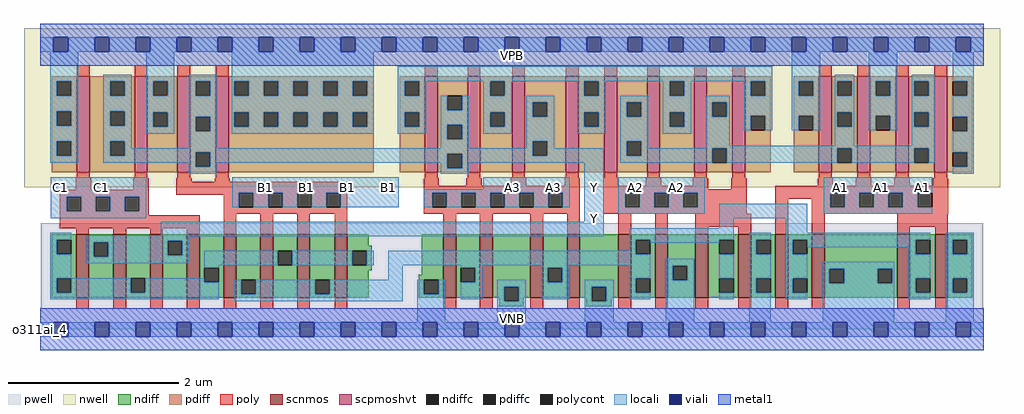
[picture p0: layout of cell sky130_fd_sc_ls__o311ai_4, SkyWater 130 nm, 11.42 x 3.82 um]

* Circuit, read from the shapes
.subckt sky130_fd_sc_ls__o311ai_4 A1 A2 A3 B1 C1 VGND VNB VPB VPWR Y
XM1 Y C1 n1 VNB sky130_fd_pr__nfet_01v8 w=0.74 l=0.15 m=4
XM2 n2 B1 n1 VNB sky130_fd_pr__nfet_01v8 w=0.74 l=0.15 m=4
XM3 n2 A3 VGND VNB sky130_fd_pr__nfet_01v8 w=0.74 l=0.15 m=4
XM4 n2 A2 VGND VNB sky130_fd_pr__nfet_01v8 w=0.74 l=0.15 m=4
XM5 n2 A1 VGND VNB sky130_fd_pr__nfet_01v8 w=0.74 l=0.15 m=4
XM6 Y C1 VPWR VPB sky130_fd_pr__pfet_01v8_hvt w=1.12 l=0.15 m=2
XM7 Y B1 VPWR VPB sky130_fd_pr__pfet_01v8_hvt w=1.12 l=0.15 m=2
XM8 Y A3 n3 VPB sky130_fd_pr__pfet_01v8_hvt w=1.12 l=0.15 m=4
XM9 n4 A2 n3 VPB sky130_fd_pr__pfet_01v8_hvt w=1.12 l=0.15 m=4
XM10 n4 A1 VPWR VPB sky130_fd_pr__pfet_01v8_hvt w=1.12 l=0.15 m=4
.ends

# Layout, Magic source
magic
tech sky130A
magscale 1 2
<< nwell >>
rect -38 332 2246 704
<< pwell >>
rect 1 49 2207 248
rect 0 0 2208 49
<< scnmos >>
rect 84 74 114 222
rect 171 74 201 222
rect 257 74 287 222
rect 343 74 373 222
rect 429 74 459 222
rect 515 74 545 222
rect 601 74 631 222
rect 689 74 719 222
rect 943 74 973 222
rect 1029 74 1059 222
rect 1147 74 1177 222
rect 1233 74 1263 222
rect 1353 74 1383 222
rect 1439 74 1469 222
rect 1533 74 1563 222
rect 1634 74 1664 222
rect 1720 74 1750 222
rect 1806 74 1836 222
rect 2005 74 2035 222
rect 2094 74 2124 222
<< scpmoshvt >>
rect 86 368 116 592
rect 221 368 251 592
rect 321 368 351 592
rect 411 368 441 592
rect 900 368 930 592
rect 1000 368 1030 592
rect 1104 368 1134 592
rect 1230 368 1260 592
rect 1320 368 1350 592
rect 1420 368 1450 592
rect 1530 368 1560 592
rect 1620 368 1650 592
rect 1822 368 1852 592
rect 1912 368 1942 592
rect 2002 368 2032 592
rect 2092 368 2122 592
<< ndiff >>
rect 27 210 84 222
rect 27 176 39 210
rect 73 176 84 210
rect 27 120 84 176
rect 27 86 39 120
rect 73 86 84 120
rect 27 74 84 86
rect 114 204 171 222
rect 114 170 125 204
rect 159 170 171 204
rect 114 74 171 170
rect 201 120 257 222
rect 201 86 212 120
rect 246 86 257 120
rect 201 74 257 86
rect 287 207 343 222
rect 287 173 298 207
rect 332 173 343 207
rect 287 74 343 173
rect 373 144 429 222
rect 373 110 384 144
rect 418 110 429 144
rect 373 74 429 110
rect 459 116 515 222
rect 459 82 470 116
rect 504 82 515 116
rect 459 74 515 82
rect 545 184 601 222
rect 545 150 556 184
rect 590 150 601 184
rect 545 74 601 150
rect 631 116 689 222
rect 631 82 643 116
rect 677 82 689 116
rect 631 74 689 82
rect 719 196 769 222
rect 719 184 776 196
rect 719 150 730 184
rect 764 150 776 184
rect 719 138 776 150
rect 719 74 769 138
rect 893 128 943 222
rect 886 116 943 128
rect 886 82 898 116
rect 932 82 943 116
rect 886 74 943 82
rect 973 144 1029 222
rect 973 110 984 144
rect 1018 110 1029 144
rect 973 74 1029 110
rect 1059 100 1147 222
rect 1059 74 1086 100
rect 1074 66 1086 74
rect 1120 74 1147 100
rect 1177 144 1233 222
rect 1177 110 1188 144
rect 1222 110 1233 144
rect 1177 74 1233 110
rect 1263 100 1353 222
rect 1263 74 1291 100
rect 1120 66 1132 74
rect 1074 54 1132 66
rect 1278 66 1291 74
rect 1325 74 1353 100
rect 1383 210 1439 222
rect 1383 176 1394 210
rect 1428 176 1439 210
rect 1383 120 1439 176
rect 1383 86 1394 120
rect 1428 86 1439 120
rect 1383 74 1439 86
rect 1469 149 1533 222
rect 1469 115 1480 149
rect 1514 115 1533 149
rect 1469 74 1533 115
rect 1563 210 1634 222
rect 1563 176 1589 210
rect 1623 176 1634 210
rect 1563 120 1634 176
rect 1563 86 1589 120
rect 1623 86 1634 120
rect 1563 74 1634 86
rect 1664 210 1720 222
rect 1664 176 1675 210
rect 1709 176 1720 210
rect 1664 120 1720 176
rect 1664 86 1675 120
rect 1709 86 1720 120
rect 1664 74 1720 86
rect 1750 210 1806 222
rect 1750 176 1761 210
rect 1795 176 1806 210
rect 1750 120 1806 176
rect 1750 86 1761 120
rect 1795 86 1806 120
rect 1750 74 1806 86
rect 1836 142 2005 222
rect 1836 108 1847 142
rect 1881 108 1960 142
rect 1994 108 2005 142
rect 1836 74 2005 108
rect 2035 210 2094 222
rect 2035 176 2049 210
rect 2083 176 2094 210
rect 2035 120 2094 176
rect 2035 86 2049 120
rect 2083 86 2094 120
rect 2035 74 2094 86
rect 2124 210 2181 222
rect 2124 176 2135 210
rect 2169 176 2181 210
rect 2124 120 2181 176
rect 2124 86 2135 120
rect 2169 86 2181 120
rect 2124 74 2181 86
rect 1325 66 1338 74
rect 1278 54 1338 66
<< pdiff >>
rect 27 580 86 592
rect 27 546 39 580
rect 73 546 86 580
rect 27 510 86 546
rect 27 476 39 510
rect 73 476 86 510
rect 27 440 86 476
rect 27 406 39 440
rect 73 406 86 440
rect 27 368 86 406
rect 116 580 221 592
rect 116 546 164 580
rect 198 546 221 580
rect 116 510 221 546
rect 116 476 164 510
rect 198 476 221 510
rect 116 440 221 476
rect 116 406 164 440
rect 198 406 221 440
rect 116 368 221 406
rect 251 580 321 592
rect 251 546 264 580
rect 298 546 321 580
rect 251 508 321 546
rect 251 474 264 508
rect 298 474 321 508
rect 251 368 321 474
rect 351 580 411 592
rect 351 546 364 580
rect 398 546 411 580
rect 351 497 411 546
rect 351 463 364 497
rect 398 463 411 497
rect 351 414 411 463
rect 351 380 364 414
rect 398 380 411 414
rect 351 368 411 380
rect 441 580 780 592
rect 441 546 454 580
rect 488 546 523 580
rect 557 546 592 580
rect 626 546 662 580
rect 696 546 731 580
rect 765 546 780 580
rect 441 508 780 546
rect 441 474 454 508
rect 488 474 523 508
rect 557 474 592 508
rect 626 474 662 508
rect 696 474 731 508
rect 765 474 780 508
rect 441 368 780 474
rect 841 580 900 592
rect 841 546 853 580
rect 887 546 900 580
rect 841 508 900 546
rect 841 474 853 508
rect 887 474 900 508
rect 841 368 900 474
rect 930 547 1000 592
rect 930 513 953 547
rect 987 513 1000 547
rect 930 479 1000 513
rect 930 445 953 479
rect 987 445 1000 479
rect 930 411 1000 445
rect 930 377 953 411
rect 987 377 1000 411
rect 930 368 1000 377
rect 1030 580 1104 592
rect 1030 546 1053 580
rect 1087 546 1104 580
rect 1030 508 1104 546
rect 1030 474 1053 508
rect 1087 474 1104 508
rect 1030 368 1104 474
rect 1134 531 1230 592
rect 1134 497 1153 531
rect 1187 497 1230 531
rect 1134 440 1230 497
rect 1134 406 1153 440
rect 1187 406 1230 440
rect 1134 368 1230 406
rect 1260 580 1320 592
rect 1260 546 1273 580
rect 1307 546 1320 580
rect 1260 508 1320 546
rect 1260 474 1273 508
rect 1307 474 1320 508
rect 1260 368 1320 474
rect 1350 531 1420 592
rect 1350 497 1373 531
rect 1407 497 1420 531
rect 1350 440 1420 497
rect 1350 406 1373 440
rect 1407 406 1420 440
rect 1350 368 1420 406
rect 1450 580 1530 592
rect 1450 546 1473 580
rect 1507 546 1530 580
rect 1450 508 1530 546
rect 1450 474 1473 508
rect 1507 474 1530 508
rect 1450 368 1530 474
rect 1560 531 1620 592
rect 1560 497 1573 531
rect 1607 497 1620 531
rect 1560 424 1620 497
rect 1560 390 1573 424
rect 1607 390 1620 424
rect 1560 368 1620 390
rect 1650 580 1709 592
rect 1650 546 1663 580
rect 1697 546 1709 580
rect 1650 500 1709 546
rect 1650 466 1663 500
rect 1697 466 1709 500
rect 1650 368 1709 466
rect 1763 580 1822 592
rect 1763 546 1775 580
rect 1809 546 1822 580
rect 1763 500 1822 546
rect 1763 466 1775 500
rect 1809 466 1822 500
rect 1763 368 1822 466
rect 1852 580 1912 592
rect 1852 546 1865 580
rect 1899 546 1912 580
rect 1852 508 1912 546
rect 1852 474 1865 508
rect 1899 474 1912 508
rect 1852 424 1912 474
rect 1852 390 1865 424
rect 1899 390 1912 424
rect 1852 368 1912 390
rect 1942 580 2002 592
rect 1942 546 1955 580
rect 1989 546 2002 580
rect 1942 500 2002 546
rect 1942 466 1955 500
rect 1989 466 2002 500
rect 1942 368 2002 466
rect 2032 580 2092 592
rect 2032 546 2045 580
rect 2079 546 2092 580
rect 2032 508 2092 546
rect 2032 474 2045 508
rect 2079 474 2092 508
rect 2032 424 2092 474
rect 2032 390 2045 424
rect 2079 390 2092 424
rect 2032 368 2092 390
rect 2122 580 2181 592
rect 2122 546 2135 580
rect 2169 546 2181 580
rect 2122 497 2181 546
rect 2122 463 2135 497
rect 2169 463 2181 497
rect 2122 414 2181 463
rect 2122 380 2135 414
rect 2169 380 2181 414
rect 2122 368 2181 380
<< ndiffc >>
rect 39 176 73 210
rect 39 86 73 120
rect 125 170 159 204
rect 212 86 246 120
rect 298 173 332 207
rect 384 110 418 144
rect 470 82 504 116
rect 556 150 590 184
rect 643 82 677 116
rect 730 150 764 184
rect 898 82 932 116
rect 984 110 1018 144
rect 1086 66 1120 100
rect 1188 110 1222 144
rect 1291 66 1325 100
rect 1394 176 1428 210
rect 1394 86 1428 120
rect 1480 115 1514 149
rect 1589 176 1623 210
rect 1589 86 1623 120
rect 1675 176 1709 210
rect 1675 86 1709 120
rect 1761 176 1795 210
rect 1761 86 1795 120
rect 1847 108 1881 142
rect 1960 108 1994 142
rect 2049 176 2083 210
rect 2049 86 2083 120
rect 2135 176 2169 210
rect 2135 86 2169 120
<< pdiffc >>
rect 39 546 73 580
rect 39 476 73 510
rect 39 406 73 440
rect 164 546 198 580
rect 164 476 198 510
rect 164 406 198 440
rect 264 546 298 580
rect 264 474 298 508
rect 364 546 398 580
rect 364 463 398 497
rect 364 380 398 414
rect 454 546 488 580
rect 523 546 557 580
rect 592 546 626 580
rect 662 546 696 580
rect 731 546 765 580
rect 454 474 488 508
rect 523 474 557 508
rect 592 474 626 508
rect 662 474 696 508
rect 731 474 765 508
rect 853 546 887 580
rect 853 474 887 508
rect 953 513 987 547
rect 953 445 987 479
rect 953 377 987 411
rect 1053 546 1087 580
rect 1053 474 1087 508
rect 1153 497 1187 531
rect 1153 406 1187 440
rect 1273 546 1307 580
rect 1273 474 1307 508
rect 1373 497 1407 531
rect 1373 406 1407 440
rect 1473 546 1507 580
rect 1473 474 1507 508
rect 1573 497 1607 531
rect 1573 390 1607 424
rect 1663 546 1697 580
rect 1663 466 1697 500
rect 1775 546 1809 580
rect 1775 466 1809 500
rect 1865 546 1899 580
rect 1865 474 1899 508
rect 1865 390 1899 424
rect 1955 546 1989 580
rect 1955 466 1989 500
rect 2045 546 2079 580
rect 2045 474 2079 508
rect 2045 390 2079 424
rect 2135 546 2169 580
rect 2135 463 2169 497
rect 2135 380 2169 414
<< poly >>
rect 86 592 116 618
rect 221 592 251 618
rect 321 592 351 618
rect 411 592 441 618
rect 900 592 930 618
rect 1000 592 1030 618
rect 1104 592 1134 618
rect 1230 592 1260 618
rect 1320 592 1350 618
rect 1420 592 1450 618
rect 1530 592 1560 618
rect 1620 592 1650 618
rect 1822 592 1852 618
rect 1912 592 1942 618
rect 2002 592 2032 618
rect 2092 592 2122 618
rect 86 353 116 368
rect 221 353 251 368
rect 321 353 351 368
rect 411 353 441 368
rect 900 353 930 368
rect 1000 353 1030 368
rect 1104 353 1134 368
rect 1230 353 1260 368
rect 1320 353 1350 368
rect 1420 353 1450 368
rect 1530 353 1560 368
rect 1620 353 1650 368
rect 1822 353 1852 368
rect 1912 353 1942 368
rect 2002 353 2032 368
rect 2092 353 2122 368
rect 83 326 119 353
rect 218 326 254 353
rect 46 310 254 326
rect 318 345 354 353
rect 408 345 444 353
rect 318 320 719 345
rect 318 315 465 320
rect 46 276 62 310
rect 96 276 130 310
rect 164 276 198 310
rect 232 276 254 310
rect 46 267 254 276
rect 429 286 465 315
rect 499 286 533 320
rect 567 286 601 320
rect 635 286 669 320
rect 703 286 719 320
rect 429 270 719 286
rect 897 336 933 353
rect 997 336 1033 353
rect 1101 336 1137 353
rect 1227 336 1263 353
rect 897 320 1263 336
rect 897 286 917 320
rect 951 286 985 320
rect 1019 286 1053 320
rect 1087 286 1121 320
rect 1155 286 1189 320
rect 1223 286 1263 320
rect 897 270 1263 286
rect 1317 336 1353 353
rect 1417 336 1453 353
rect 1527 336 1563 353
rect 1317 328 1563 336
rect 1617 328 1653 353
rect 1819 336 1855 353
rect 1909 336 1945 353
rect 1999 336 2035 353
rect 2089 336 2125 353
rect 1317 320 1653 328
rect 1317 286 1369 320
rect 1403 286 1437 320
rect 1471 286 1505 320
rect 1539 286 1653 320
rect 1317 270 1653 286
rect 1720 320 2125 336
rect 1720 306 1849 320
rect 46 237 373 267
rect 84 222 114 237
rect 171 222 201 237
rect 257 222 287 237
rect 343 222 373 237
rect 429 222 459 270
rect 515 222 545 270
rect 601 222 631 270
rect 689 222 719 270
rect 943 222 973 270
rect 1029 222 1059 270
rect 1147 222 1177 270
rect 1233 222 1263 270
rect 1353 222 1383 270
rect 1439 222 1469 270
rect 1533 240 1664 270
rect 1533 222 1563 240
rect 1634 222 1664 240
rect 1720 222 1750 306
rect 1806 286 1849 306
rect 1883 286 1917 320
rect 1951 286 1985 320
rect 2019 286 2053 320
rect 2087 286 2125 320
rect 1806 270 2125 286
rect 1806 222 1836 270
rect 2005 240 2124 270
rect 2005 222 2035 240
rect 2094 222 2124 240
rect 84 48 114 74
rect 171 48 201 74
rect 257 48 287 74
rect 343 48 373 74
rect 429 48 459 74
rect 515 48 545 74
rect 601 48 631 74
rect 689 48 719 74
rect 943 48 973 74
rect 1029 48 1059 74
rect 1147 48 1177 74
rect 1233 48 1263 74
rect 1353 48 1383 74
rect 1439 48 1469 74
rect 1533 48 1563 74
rect 1634 48 1664 74
rect 1720 48 1750 74
rect 1806 48 1836 74
rect 2005 48 2035 74
rect 2094 48 2124 74
<< polycont >>
rect 62 276 96 310
rect 130 276 164 310
rect 198 276 232 310
rect 465 286 499 320
rect 533 286 567 320
rect 601 286 635 320
rect 669 286 703 320
rect 917 286 951 320
rect 985 286 1019 320
rect 1053 286 1087 320
rect 1121 286 1155 320
rect 1189 286 1223 320
rect 1369 286 1403 320
rect 1437 286 1471 320
rect 1505 286 1539 320
rect 1849 286 1883 320
rect 1917 286 1951 320
rect 1985 286 2019 320
rect 2053 286 2087 320
<< locali >>
rect 0 649 31 683
rect 65 649 127 683
rect 161 649 223 683
rect 257 649 319 683
rect 353 649 415 683
rect 449 649 511 683
rect 545 649 607 683
rect 641 649 703 683
rect 737 649 799 683
rect 833 649 895 683
rect 929 649 991 683
rect 1025 649 1087 683
rect 1121 649 1183 683
rect 1217 649 1279 683
rect 1313 649 1375 683
rect 1409 649 1471 683
rect 1505 649 1567 683
rect 1601 649 1663 683
rect 1697 649 1759 683
rect 1793 649 1855 683
rect 1889 649 1951 683
rect 1985 649 2047 683
rect 2081 649 2143 683
rect 2177 649 2208 683
rect 23 580 89 649
rect 23 546 39 580
rect 73 546 89 580
rect 23 510 89 546
rect 23 476 39 510
rect 73 476 89 510
rect 23 440 89 476
rect 23 406 39 440
rect 73 406 89 440
rect 23 390 89 406
rect 148 580 214 596
rect 148 546 164 580
rect 198 546 214 580
rect 148 510 214 546
rect 148 476 164 510
rect 198 476 214 510
rect 148 440 214 476
rect 248 580 314 649
rect 248 546 264 580
rect 298 546 314 580
rect 248 508 314 546
rect 248 474 264 508
rect 298 474 314 508
rect 248 458 314 474
rect 348 580 414 596
rect 348 546 364 580
rect 398 546 414 580
rect 348 497 414 546
rect 348 463 364 497
rect 398 463 414 497
rect 148 406 164 440
rect 198 424 214 440
rect 348 424 414 463
rect 448 580 781 649
rect 448 546 454 580
rect 488 546 523 580
rect 557 546 592 580
rect 626 546 662 580
rect 696 546 731 580
rect 765 546 781 580
rect 448 508 781 546
rect 448 474 454 508
rect 488 474 523 508
rect 557 474 592 508
rect 626 474 662 508
rect 696 474 731 508
rect 765 474 781 508
rect 448 458 781 474
rect 837 581 1713 615
rect 837 580 903 581
rect 837 546 853 580
rect 887 546 903 580
rect 1037 580 1103 581
rect 837 508 903 546
rect 837 474 853 508
rect 887 474 903 508
rect 837 458 903 474
rect 937 513 953 547
rect 987 513 1003 547
rect 937 479 1003 513
rect 937 445 953 479
rect 987 445 1003 479
rect 1037 546 1053 580
rect 1087 546 1103 580
rect 1257 580 1323 581
rect 1037 508 1103 546
rect 1037 474 1053 508
rect 1087 474 1103 508
rect 1037 458 1103 474
rect 1137 531 1203 547
rect 1137 497 1153 531
rect 1187 497 1203 531
rect 937 424 1003 445
rect 1137 440 1203 497
rect 1257 546 1273 580
rect 1307 546 1323 580
rect 1457 580 1523 581
rect 1257 508 1323 546
rect 1257 474 1273 508
rect 1307 474 1323 508
rect 1257 458 1323 474
rect 1357 531 1423 547
rect 1357 497 1373 531
rect 1407 497 1423 531
rect 1137 424 1153 440
rect 198 414 1153 424
rect 198 406 364 414
rect 148 390 364 406
rect 348 380 364 390
rect 398 411 1153 414
rect 398 390 953 411
rect 398 380 414 390
rect 348 364 414 380
rect 937 377 953 390
rect 987 406 1153 411
rect 1187 424 1203 440
rect 1357 440 1423 497
rect 1457 546 1473 580
rect 1507 546 1523 580
rect 1647 580 1713 581
rect 1457 508 1523 546
rect 1457 474 1473 508
rect 1507 474 1523 508
rect 1457 458 1523 474
rect 1557 531 1613 547
rect 1557 497 1573 531
rect 1607 497 1613 531
rect 1187 406 1319 424
rect 987 390 1319 406
rect 1357 406 1373 440
rect 1407 424 1423 440
rect 1557 430 1613 497
rect 1647 546 1663 580
rect 1697 546 1713 580
rect 1647 500 1713 546
rect 1647 466 1663 500
rect 1697 466 1713 500
rect 1759 580 1825 649
rect 1759 546 1775 580
rect 1809 546 1825 580
rect 1759 500 1825 546
rect 1759 466 1775 500
rect 1809 466 1825 500
rect 1859 580 1905 596
rect 1859 546 1865 580
rect 1899 546 1905 580
rect 1859 508 1905 546
rect 1859 474 1865 508
rect 1899 474 1905 508
rect 1859 430 1905 474
rect 1939 580 2005 649
rect 1939 546 1955 580
rect 1989 546 2005 580
rect 1939 500 2005 546
rect 1939 466 1955 500
rect 1989 466 2005 500
rect 2039 580 2095 596
rect 2039 546 2045 580
rect 2079 546 2095 580
rect 2039 508 2095 546
rect 2039 474 2045 508
rect 2079 474 2095 508
rect 2039 430 2095 474
rect 1557 424 2095 430
rect 1407 406 1573 424
rect 1357 390 1573 406
rect 1607 390 1865 424
rect 1899 390 2045 424
rect 2079 390 2095 424
rect 2135 580 2185 649
rect 2169 546 2185 580
rect 2135 497 2185 546
rect 2169 463 2185 497
rect 2135 414 2185 463
rect 987 377 1003 390
rect 937 364 1003 377
rect 25 310 248 356
rect 25 276 62 310
rect 96 276 130 310
rect 164 276 198 310
rect 232 276 248 310
rect 449 320 839 356
rect 1037 328 1239 356
rect 449 286 465 320
rect 499 286 533 320
rect 567 286 601 320
rect 635 286 669 320
rect 703 286 839 320
rect 897 320 1239 328
rect 897 286 917 320
rect 951 286 985 320
rect 1019 286 1053 320
rect 1087 286 1121 320
rect 1155 286 1189 320
rect 1223 286 1239 320
rect 25 260 248 276
rect 1273 252 1319 390
rect 2169 380 2185 414
rect 2135 364 2185 380
rect 1353 320 1555 356
rect 1353 286 1369 320
rect 1403 286 1437 320
rect 1471 286 1505 320
rect 1539 286 1555 320
rect 1833 320 2087 356
rect 1353 270 1555 286
rect 23 210 73 226
rect 282 220 1319 252
rect 1589 260 1795 294
rect 1833 286 1849 320
rect 1883 286 1917 320
rect 1951 286 1985 320
rect 2019 286 2053 320
rect 1833 270 2087 286
rect 1589 236 1623 260
rect 23 176 39 210
rect 23 120 73 176
rect 109 218 1319 220
rect 109 207 348 218
rect 109 204 298 207
rect 109 170 125 204
rect 159 173 298 204
rect 332 173 348 207
rect 1378 210 1623 236
rect 1745 226 1795 260
rect 1378 184 1394 210
rect 159 170 348 173
rect 109 154 348 170
rect 384 150 556 184
rect 590 150 730 184
rect 764 150 780 184
rect 814 176 1394 184
rect 1428 202 1589 210
rect 814 150 1428 176
rect 384 144 418 150
rect 23 86 39 120
rect 73 86 212 120
rect 246 110 384 120
rect 814 116 848 150
rect 984 144 1034 150
rect 246 86 418 110
rect 23 70 418 86
rect 454 82 470 116
rect 504 82 643 116
rect 677 82 848 116
rect 454 66 848 82
rect 882 82 898 116
rect 932 82 948 116
rect 882 17 948 82
rect 1018 110 1034 144
rect 1172 144 1238 150
rect 984 70 1034 110
rect 1070 100 1136 116
rect 1070 66 1086 100
rect 1120 66 1136 100
rect 1172 110 1188 144
rect 1222 110 1238 144
rect 1378 120 1428 150
rect 1172 70 1238 110
rect 1274 100 1342 116
rect 1070 17 1136 66
rect 1274 66 1291 100
rect 1325 66 1342 100
rect 1378 86 1394 120
rect 1378 70 1428 86
rect 1464 149 1530 165
rect 1464 115 1480 149
rect 1514 115 1530 149
rect 1274 17 1342 66
rect 1464 17 1530 115
rect 1589 120 1623 176
rect 1589 70 1623 86
rect 1659 210 1709 226
rect 1659 176 1675 210
rect 1659 120 1709 176
rect 1659 86 1675 120
rect 1659 17 1709 86
rect 1745 210 2083 226
rect 1745 176 1761 210
rect 1795 192 2049 210
rect 1745 120 1795 176
rect 2033 176 2049 192
rect 1745 86 1761 120
rect 1745 70 1795 86
rect 1831 142 1999 158
rect 1831 108 1847 142
rect 1881 108 1960 142
rect 1994 108 1999 142
rect 1831 17 1999 108
rect 2033 120 2083 176
rect 2033 86 2049 120
rect 2033 70 2083 86
rect 2119 210 2185 226
rect 2119 176 2135 210
rect 2169 176 2185 210
rect 2119 120 2185 176
rect 2119 86 2135 120
rect 2169 86 2185 120
rect 2119 17 2185 86
rect 0 -17 31 17
rect 65 -17 127 17
rect 161 -17 223 17
rect 257 -17 319 17
rect 353 -17 415 17
rect 449 -17 511 17
rect 545 -17 607 17
rect 641 -17 703 17
rect 737 -17 799 17
rect 833 -17 895 17
rect 929 -17 991 17
rect 1025 -17 1087 17
rect 1121 -17 1183 17
rect 1217 -17 1279 17
rect 1313 -17 1375 17
rect 1409 -17 1471 17
rect 1505 -17 1567 17
rect 1601 -17 1663 17
rect 1697 -17 1759 17
rect 1793 -17 1855 17
rect 1889 -17 1951 17
rect 1985 -17 2047 17
rect 2081 -17 2143 17
rect 2177 -17 2208 17
<< viali >>
rect 31 649 65 683
rect 127 649 161 683
rect 223 649 257 683
rect 319 649 353 683
rect 415 649 449 683
rect 511 649 545 683
rect 607 649 641 683
rect 703 649 737 683
rect 799 649 833 683
rect 895 649 929 683
rect 991 649 1025 683
rect 1087 649 1121 683
rect 1183 649 1217 683
rect 1279 649 1313 683
rect 1375 649 1409 683
rect 1471 649 1505 683
rect 1567 649 1601 683
rect 1663 649 1697 683
rect 1759 649 1793 683
rect 1855 649 1889 683
rect 1951 649 1985 683
rect 2047 649 2081 683
rect 2143 649 2177 683
rect 31 -17 65 17
rect 127 -17 161 17
rect 223 -17 257 17
rect 319 -17 353 17
rect 415 -17 449 17
rect 511 -17 545 17
rect 607 -17 641 17
rect 703 -17 737 17
rect 799 -17 833 17
rect 895 -17 929 17
rect 991 -17 1025 17
rect 1087 -17 1121 17
rect 1183 -17 1217 17
rect 1279 -17 1313 17
rect 1375 -17 1409 17
rect 1471 -17 1505 17
rect 1567 -17 1601 17
rect 1663 -17 1697 17
rect 1759 -17 1793 17
rect 1855 -17 1889 17
rect 1951 -17 1985 17
rect 2047 -17 2081 17
rect 2143 -17 2177 17
<< metal1 >>
rect 0 683 2208 715
rect 0 649 31 683
rect 65 649 127 683
rect 161 649 223 683
rect 257 649 319 683
rect 353 649 415 683
rect 449 649 511 683
rect 545 649 607 683
rect 641 649 703 683
rect 737 649 799 683
rect 833 649 895 683
rect 929 649 991 683
rect 1025 649 1087 683
rect 1121 649 1183 683
rect 1217 649 1279 683
rect 1313 649 1375 683
rect 1409 649 1471 683
rect 1505 649 1567 683
rect 1601 649 1663 683
rect 1697 649 1759 683
rect 1793 649 1855 683
rect 1889 649 1951 683
rect 1985 649 2047 683
rect 2081 649 2143 683
rect 2177 649 2208 683
rect 0 617 2208 649
rect 0 17 2208 49
rect 0 -17 31 17
rect 65 -17 127 17
rect 161 -17 223 17
rect 257 -17 319 17
rect 353 -17 415 17
rect 449 -17 511 17
rect 545 -17 607 17
rect 641 -17 703 17
rect 737 -17 799 17
rect 833 -17 895 17
rect 929 -17 991 17
rect 1025 -17 1087 17
rect 1121 -17 1183 17
rect 1217 -17 1279 17
rect 1313 -17 1375 17
rect 1409 -17 1471 17
rect 1505 -17 1567 17
rect 1601 -17 1663 17
rect 1697 -17 1759 17
rect 1793 -17 1855 17
rect 1889 -17 1951 17
rect 1985 -17 2047 17
rect 2081 -17 2143 17
rect 2177 -17 2208 17
rect 0 -49 2208 -17
<< labels >>
rlabel comment s 0 0 0 0 4 o311ai_4
flabel pwell s 0 0 2208 49 0 FreeSans 200 0 0 0 VNB
port 7 nsew ground bidirectional
flabel nwell s 0 617 2208 666 0 FreeSans 200 0 0 0 VPB
port 8 nsew power bidirectional
flabel metal1 s 0 617 2208 666 0 FreeSans 340 0 0 0 VPWR
port 9 nsew power bidirectional abutment
flabel metal1 s 0 0 2208 49 0 FreeSans 340 0 0 0 VGND
port 6 nsew ground bidirectional abutment
flabel locali s 1279 242 1313 276 0 FreeSans 340 0 0 0 Y
port 10 nsew signal output
flabel locali s 1279 316 1313 350 0 FreeSans 340 0 0 0 Y
port 10 nsew signal output
flabel locali s 31 316 65 350 0 FreeSans 340 0 0 0 C1
port 5 nsew signal input
flabel locali s 127 316 161 350 0 FreeSans 340 0 0 0 C1
port 5 nsew signal input
flabel locali s 511 316 545 350 0 FreeSans 340 0 0 0 B1
port 4 nsew signal input
flabel locali s 607 316 641 350 0 FreeSans 340 0 0 0 B1
port 4 nsew signal input
flabel locali s 703 316 737 350 0 FreeSans 340 0 0 0 B1
port 4 nsew signal input
flabel locali s 799 316 833 350 0 FreeSans 340 0 0 0 B1
port 4 nsew signal input
flabel locali s 1087 316 1121 350 0 FreeSans 340 0 0 0 A3
port 3 nsew signal input
flabel locali s 1183 316 1217 350 0 FreeSans 340 0 0 0 A3
port 3 nsew signal input
flabel locali s 1375 316 1409 350 0 FreeSans 340 0 0 0 A2
port 2 nsew signal input
flabel locali s 1471 316 1505 350 0 FreeSans 340 0 0 0 A2
port 2 nsew signal input
flabel locali s 1855 316 1889 350 0 FreeSans 340 0 0 0 A1
port 1 nsew signal input
flabel locali s 1951 316 1985 350 0 FreeSans 340 0 0 0 A1
port 1 nsew signal input
flabel locali s 2047 316 2081 350 0 FreeSans 340 0 0 0 A1
port 1 nsew signal input
<< properties >>
string LEFsite unit
string LEFclass CORE
string FIXED_BBOX 0 0 2208 666
string GDS_FILE $PDKPATH/libs.ref/sky130_fd_sc_ls/gds/sky130_fd_sc_ls.gds
string LEFsymmetry X Y
string GDS_END 639224
string GDS_START 622312
<< end >>
